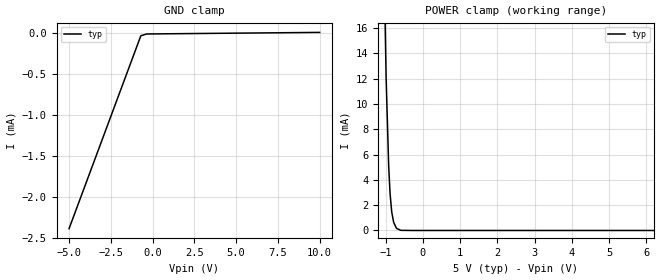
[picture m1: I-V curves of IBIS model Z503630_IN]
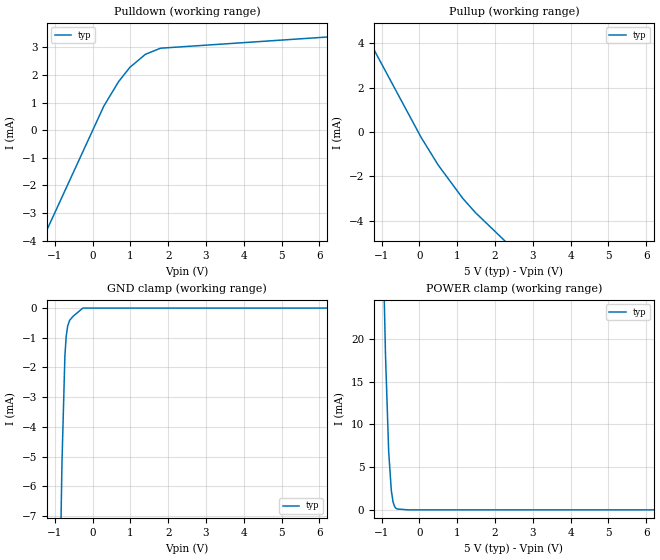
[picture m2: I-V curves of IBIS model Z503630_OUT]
| YOU ARE ONLY AUTHORIZED TO USE THIS SOFTWARE
| ACCORDING TO LICENSOR'S LICENSE RESTRICTIONS.
[IBIS Ver] 3.1
[File Name] mc14518bcp.ibs
[File Rev] 2.0
[Source] Measured and created by ICX Technology
[Date] Friday 7/14/00 9:07:56 AM
[Copyright]
| (C) COPYRIGHT 1993-2000
| MENTOR GRAPHICS CORPORATION
| ICX STANDARD LIBRARY, ICX PROJECT MODELING,
| ICX CUSTOM MODELING, ICX VENDOR MODEL
| ALL RIGHTS RESERVED.
| THE FOLLOWING ARE TRADEMARKS OR SERVICE MARKS OF
| MENTOR GRAPHICS CORPORATION:ICX (R), ICX STANDARD
| LIBRARY(R), ICX PROJECT MODELING(R), ICX CUSTOM
| MODELING(R), qualityIBIS(TM), MODELVIEWER(TM),
| AND MODELEDITOR(TM)
| ALL COPIES OF SOFTWARE, INCLUDING BUT NOT LIMITED TO
| ANY MODIFICATIONS, ENHANCEMENTS OR DERIVATIVE WORKS,
| MUST CONTAIN ALL MENTOR GRAPHICS CORPORATION'S
| NOTICES AND LEGENDS, INCLUDING THOSE EMBEDDED IN
| SOFTWARE AND THOSE AFFIXED TO SOFTWARE MEDIUM
| AND CONTAINER, AS RECEIVED FROM MENTOR GRAPHICS
| CORPORATION.
|  ZAP Model Builder 2.7
[Component] MC14518BCP
[Manufacturer] OnSemiconductor
[Package]
| variable   typ   min   max
R_pkg  .212ohms NA NA
L_pkg  4.758nH NA NA
C_pkg  1.143pF NA NA
[Pin] signal_name  model_name  R_pin  L_pin C_pin
1 CLKA Z503630_IN .224 7.258n 1.578p
2 EN Z503630_IN .216 5.258n 1.288p
3 Q0A Z503630_OUT .208 3.758n .998p
4 Q1A Z503630_OUT .2 2.758n .708p
5 Q2A Z503630_OUT .2 2.758n .708p
6 Q3A Z503630_OUT .208 3.758n .998p
7 RA Z503630_IN .216 5.258n 1.288p
8 VSS POWER .224 7.258n 1.578p
9 CLKB Z503630_IN .224 7.258n 1.578p
10 EN Z503630_IN .216 5.258n 1.288p
11 Q0B Z503630_OUT .208 3.758n .998p
12 Q1B Z503630_OUT .2 2.758n .708p
13 Q2B Z503630_OUT .2 2.758n .708p
14 Q3B Z503630_OUT .208 3.758n .998p
15 RB Z503630_IN .216 5.258n 1.288p
16 VDD POWER .224 7.258n 1.578p
| Models and submodels in the file (2): Z503630_IN (Input), Z503630_OUT (Output)
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| (C) COPYRIGHT 1993-2000
| MENTOR GRAPHICS CORPORATION
| ICX STANDARD LIBRARY, ICX PROJECT MODELING,
| ICX CUSTOM MODELING, ICX VENDOR MODEL
| ALL RIGHTS RESERVED.
| THE FOLLOWING ARE TRADEMARKS OR SERVICE MARKS OF
| MENTOR GRAPHICS CORPORATION:ICX (R), ICX STANDARD
| LIBRARY(R), ICX PROJECT MODELING(R), ICX CUSTOM
| MODELING(R), qualityIBIS(TM), MODELVIEWER(TM),
| AND MODELEDITOR(TM)
| ALL COPIES OF SOFTWARE, INCLUDING BUT NOT LIMITED TO
| ANY MODIFICATIONS, ENHANCEMENTS OR DERIVATIVE WORKS,
| MUST CONTAIN ALL MENTOR GRAPHICS CORPORATION'S
| NOTICES AND LEGENDS, INCLUDING THOSE EMBEDDED IN
| SOFTWARE AND THOSE AFFIXED TO SOFTWARE MEDIUM
| AND CONTAINER, AS RECEIVED FROM MENTOR GRAPHICS
| CORPORATION.
| Model Application Version 1.89 2/18/99.
[Model] Z503630_IN
Model_type Input
Vinl = 1.500V
Vinh = 3.500V
C_comp 4.000pF NA NA
| variable typ   min   max
[Voltage Range] 5.000V NA NA
[GND Clamp Reference] 0.000V NA NA
[POWER Clamp Reference] 5.000V NA NA
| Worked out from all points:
|   POWER clamp passes 1 mA (typ) near -0.81 V on its own axis
[GND Clamp]
-5V       -2.389mA   NA         NA
-703.1mV  -33.23uA   NA         NA
-351.6mV  -11.48uA   NA         NA
10V       7.759uA    NA         NA
[POWER Clamp]
-5V       680.8mA    NA         NA
-986mV    12.16mA    NA         NA
-916mV    5.055mA    NA         NA
-879mV    2.919mA    NA         NA
-835mV    1.469mA    NA         NA
-783mV    643uA      NA         NA
-706mV    166.5uA    NA         NA
-591mV    11.44uA    NA         NA
-295.5mV  0A         NA         NA
10V       0A         NA         NA
| (C) COPYRIGHT 1993-2000
| MENTOR GRAPHICS CORPORATION
| ICX STANDARD LIBRARY, ICX PROJECT MODELING,
| ICX CUSTOM MODELING, ICX VENDOR MODEL
| ALL RIGHTS RESERVED.
| THE FOLLOWING ARE TRADEMARKS OR SERVICE MARKS OF
| MENTOR GRAPHICS CORPORATION:ICX (R), ICX STANDARD
| LIBRARY(R), ICX PROJECT MODELING(R), ICX CUSTOM
| MODELING(R), qualityIBIS(TM), MODELVIEWER(TM),
| AND MODELEDITOR(TM)
| ALL COPIES OF SOFTWARE, INCLUDING BUT NOT LIMITED TO
| ANY MODIFICATIONS, ENHANCEMENTS OR DERIVATIVE WORKS,
| MUST CONTAIN ALL MENTOR GRAPHICS CORPORATION'S
| NOTICES AND LEGENDS, INCLUDING THOSE EMBEDDED IN
| SOFTWARE AND THOSE AFFIXED TO SOFTWARE MEDIUM
| AND CONTAINER, AS RECEIVED FROM MENTOR GRAPHICS
| CORPORATION.
| Model Application Version 1.89 2/18/99.
[Model] Z503630_OUT
Model_type Output
Vref=0.000V
Rref=500.0Mohms
Cref=50.00pF
Vmeas=2.500V
C_comp 8.000pF NA NA
| variable typ   min   max
[Voltage Range] 5.000V NA NA
[POWER Clamp Reference] 5.000V NA NA
[Pullup Reference] 5.000V NA NA
[Pulldown Reference] 0.000V NA NA
[GND Clamp Reference] 0.000V NA NA
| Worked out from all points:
|   slope of the pulldown table from 0 to 0.75 V, typ, clamps not added: 399 ohm
|   slope of the pullup table from 0 to 0.75 V, typ, clamps not added: 380 ohm
|   GND clamp passes 1 mA (typ) near -0.70 V on its own axis
|   POWER clamp passes 1 mA (typ) near -0.70 V on its own axis
[GND Clamp]
-5V       -325.3mA   NA         NA
-809.4mV  -5.226mA   NA         NA
-732mV    -1.614mA   NA         NA
-698.3mV  -964uA     NA         NA
-659.2mV  -609.5uA   NA         NA
-605.4mV  -410.9uA   NA         NA
-512.5mV  -273.9uA   NA         NA
-256.2mV  0A         NA         NA
10V       0A         NA         NA
[Pulldown]
-5V       -14.92mA   NA         NA
298.1mV   873.5uA    NA         NA
688.4mV   1.76mA     NA         NA
985.9mV   2.276mA    NA         NA
1.398V    2.751mA    NA         NA
1.797V    2.972mA    NA         NA
10V       3.727mA    NA         NA
[Pullup]
-5V       15.76mA    NA         NA
44mV      -237.6uA   NA         NA
493mV     -1.479mA   NA         NA
1.153V    -3.004mA   NA         NA
1.484V    -3.635mA   NA         NA
10V       -17.59mA   NA         NA
[POWER Clamp]
-5V       833.9mA    NA         NA
-898mV    18.16mA    NA         NA
-814mV    6.865mA    NA         NA
-744mV    2.266mA    NA         NA
-698mV    930.7uA    NA         NA
-664mV    473.5uA    NA         NA
-630mV    216.3uA    NA         NA
-591mV    102uA      NA         NA
-295.5mV  0A         NA         NA
10V       0A         NA         NA
[Ramp]
| variable typ min max
dV/dt_r 2.630/12.06n NA NA
dV/dt_f 2.630/15.25n NA NA
R_load = 2.500kOhms
